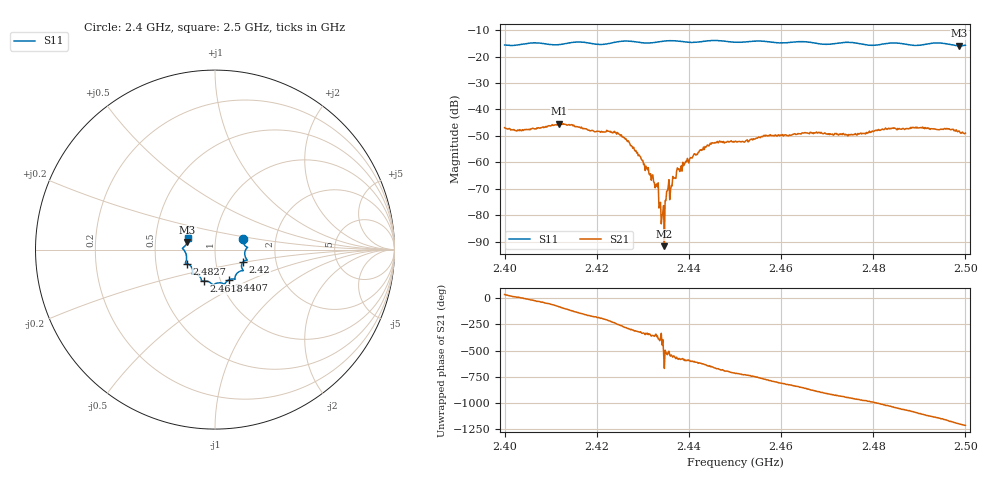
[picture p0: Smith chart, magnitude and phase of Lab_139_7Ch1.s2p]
# Hz S RI R 50
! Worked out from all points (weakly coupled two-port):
!   601 points, 2.4 GHz to 2.5 GHz, reference 50 ohm
!   highest |S21| = -45.32 dB at 2.4118 GHz (marker M1); lowest = -91.7 dB at 2.4347 GHz (marker M2)
!   lowest |S11| = -15.9 dB at 2.4987 GHz (marker M3), VSWR 1.38, Z = 36.5 + j3.23 ohm
!   |S11| at or under -10 dB: start of sweep to end of sweep
!   S12 and S22 are empty: the file has one direction only
!   S11 on the Smith chart (normalised r, x): 2.4 GHz: 1.35, +0.17; 2.42 GHz: 1.35, -0.19; 2.4407 GHz: 1.10, -0.38; 2.4618 GHz: 0.83, -0.30; 2.4827 GHz: 0.72, -0.12; 2.5 GHz: 0.73, +0.09
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2.4e9  0.1543 0.0614  0.00376 0.00249  0 0  0 0
2.411833e9  0.166 -0.0288  0.0006 -0.00539  0 0  0 0
2.416667e9  0.1789 -0.0586  -0.0039 -0.00252  0 0  0 0
2.42e9  0.1564 -0.0691  -0.00387 0.000275  0 0  0 0
2.424167e9  0.1526 -0.1098  -0.0017 0.00325  0 0  0 0
2.4265e9  0.1581 -0.1171  0.000646 0.00253  0 0  0 0
2.431667e9  0.1189 -0.1369  0.000604 8.86e-05  0 0  0 0
2.433333e9  0.1116 -0.1529  0.000359 -0.000198  0 0  0 0
2.434e9  0.1113 -0.1583  6.24e-05 2.85e-05  0 0  0 0
2.434667e9  0.1113 -0.1623  1.66e-05 1.99e-05  0 0  0 0
2.435333e9  0.1115 -0.1649  -0.000289 -7.03e-06  0 0  0 0
2.437e9  0.1096 -0.1656  -0.000453 0.000227  0 0  0 0
2.440667e9  0.0791 -0.1675  -0.000617 0.00103  0 0  0 0
2.445e9  0.054 -0.1939  0.00102 0.00211  0 0  0 0
2.45e9  0.027 -0.1849  0.0025 0.000195  0 0  0 0
2.461833e9  -0.0616 -0.1749  -0.000849 -0.00319  0 0  0 0
2.466667e9  -0.0758 -0.1681  -0.00326 -0.00145  0 0  0 0
2.474667e9  -0.1267 -0.1361  -0.00225 0.0025  0 0  0 0
2.482667e9  -0.158 -0.0779  0.00233 0.0038  0 0  0 0
2.483333e9  -0.1618 -0.0769  0.00258 0.00358  0 0  0 0
2.498667e9  -0.154 0.043  -0.00179 -0.00346  0 0  0 0
2.5e9  -0.1512 0.0631  -0.00242 -0.00263  0 0  0 0
